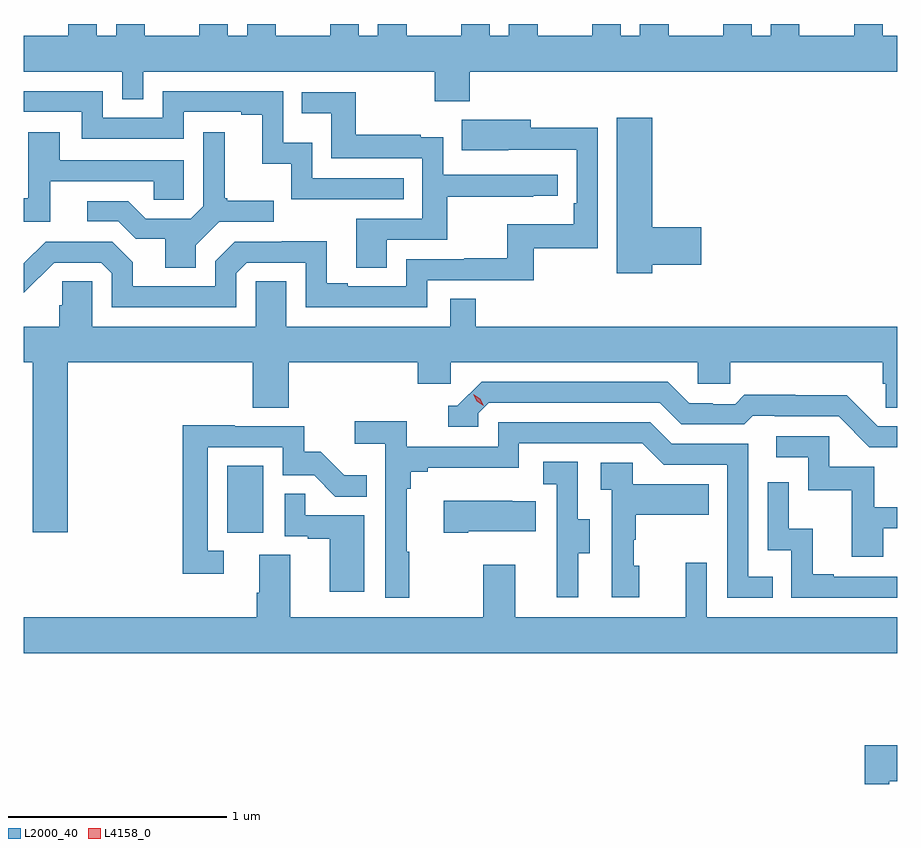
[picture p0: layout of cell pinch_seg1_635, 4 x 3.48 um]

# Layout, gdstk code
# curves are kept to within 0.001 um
import gdstk
lib = gdstk.Library(unit=1e-6, precision=1e-09)
def R(c, l, rs):  # rectangles x0, y0, x1, y1
    for r in rs: c.add(gdstk.rectangle(r[:2], r[2:], *l))
def P(c, l, *ps):  # polygons
    for p in ps: c.add(gdstk.Polygon(p, *l))
L2000_40 = (2000, 40)
L4158_0 = (4158, 0)

pinch_seg1_635 = lib.new_cell('pinch_seg1_635')
R(pinch_seg1_635, L2000_40, [(1090.394,518.982,1090.558,519.289)])
P(pinch_seg1_635, L2000_40, [(1091.465,521.26),(1091.215,521.26),(1091.215,521.314),(1091.084,521.314),(1091.084,521.26),(1090.996,521.26),(1090.996,521.314),(1090.865,521.314),(1090.865,521.26),(1090.615,521.26),(1090.615,521.314),(1090.484,521.314),(1090.484,521.26),(1090.396,521.26),(1090.396,521.314),(1090.265,521.314),(1090.265,521.26),(1090.015,521.26),(1090.015,521.314),(1089.884,521.314),(1089.884,521.26),(1089.796,521.26),(1089.796,521.314),(1089.665,521.314),(1089.665,521.26),(1089.462,521.26),(1089.462,521.096),(1089.912,521.096),(1089.912,520.969),(1090.008,520.969),(1090.008,521.096),(1091.344,521.096),(1091.344,520.961),(1091.504,520.961),(1091.504,521.096),(1093.462,521.096),(1093.462,521.26),(1093.396,521.26),(1093.396,521.314),(1093.265,521.314),(1093.265,521.26),(1093.015,521.26),(1093.015,521.314),(1092.884,521.314),(1092.884,521.26),(1092.796,521.26),(1092.796,521.314),(1092.665,521.314),(1092.665,521.26),(1092.415,521.26),(1092.415,521.314),(1092.284,521.314),(1092.284,521.26),(1092.196,521.26),(1092.196,521.314),(1092.065,521.314),(1092.065,521.26),(1091.815,521.26),(1091.815,521.314),(1091.684,521.314),(1091.684,521.26),(1091.596,521.26),(1091.596,521.314),(1091.465,521.314)],
  [(1091.201,520.608),(1090.782,520.608),(1090.782,520.771),(1090.65,520.771),(1090.65,521.007),(1090.098,521.007),(1090.098,520.884),(1089.822,520.884),(1089.822,521.007),(1089.462,521.007),(1089.462,520.911),(1089.726,520.911),(1089.726,520.788),(1090.194,520.788),(1090.194,520.911),(1090.457,520.911),(1090.457,520.899),(1090.553,520.899),(1090.553,520.673),(1090.686,520.673),(1090.686,520.512),(1091.201,520.512)],
  [(1091.125,520.326),(1091.402,520.326),(1091.402,520.522),(1091.795,520.522),(1091.795,520.527),(1091.908,520.527),(1091.908,520.623),(1091.382,520.623),(1091.382,520.795),(1091.279,520.795),(1091.279,520.807),(1090.981,520.807),(1090.981,521.001),(1090.735,521.001),(1090.735,520.904),(1090.87,520.904),(1090.87,520.698),(1091.286,520.698),(1091.286,520.422),(1090.985,520.422),(1090.985,520.198),(1091.125,520.198)],
  [(1092.34,520.211),(1092.565,520.211),(1092.565,520.382),(1092.34,520.382),(1092.34,520.885),(1092.179,520.885),(1092.179,520.172),(1092.34,520.172)],
  [(1090.434,520.173),(1090.482,520.221),(1090.752,520.221),(1090.752,520.017),(1091.31,520.017),(1091.31,520.14),(1091.797,520.14),(1091.797,520.287),(1092.09,520.287),(1092.09,520.838),(1091.785,520.838),(1091.785,520.876),(1091.467,520.876),(1091.467,520.736),(1091.994,520.737),(1091.994,520.492),(1091.981,520.492),(1091.981,520.396),(1091.676,520.396),(1091.676,520.241),(1091.479,520.241),(1091.479,520.236),(1091.214,520.236),(1091.214,520.113),(1090.945,520.113),(1090.945,520.126),(1090.849,520.126),(1090.849,520.319),(1090.644,520.319),(1090.644,520.317),(1090.428,520.317),(1090.338,520.227),(1090.338,520.113),(1089.961,520.113),(1089.961,520.223),(1089.867,520.317),(1089.561,520.317),(1089.462,520.218),(1089.462,520.083),(1089.6,520.221),(1089.816,520.221),(1089.864,520.173),(1089.864,520.017),(1090.434,520.017)],
  [(1089.583,520.593),(1090.057,520.593),(1090.057,520.509),(1090.194,520.509),(1090.194,520.689),(1089.625,520.689),(1089.625,520.819),(1089.481,520.819),(1089.481,520.516),(1089.462,520.516),(1089.462,520.407),(1089.583,520.407)],
  [(1090.249,520.3),(1090.356,520.407),(1090.606,520.407),(1090.606,520.504),(1090.393,520.504),(1090.393,520.516),(1090.381,520.516),(1090.381,520.819),(1090.284,520.819),(1090.284,520.479),(1090.227,520.422),(1090.021,520.422),(1089.94,520.503),(1089.753,520.503),(1089.753,520.41),(1089.894,520.41),(1089.974,520.33),(1090.109,520.33),(1090.109,520.198),(1090.249,520.198)],
  [(1089.662,519.764),(1090.511,519.764),(1090.511,519.556),(1090.676,519.556),(1090.676,519.764),(1091.267,519.764),(1091.267,519.666),(1091.418,519.666),(1091.418,519.764),(1092.549,519.764),(1092.549,519.666),(1092.699,519.666),(1092.699,519.764),(1093.397,519.764),(1093.397,519.666),(1093.411,519.666),(1093.411,519.556),(1093.462,519.556),(1093.462,519.928),(1091.531,519.928),(1091.531,520.055),(1091.415,520.055),(1091.415,519.928),(1090.663,519.928),(1090.663,520.136),(1090.524,520.136),(1090.524,519.928),(1089.774,519.928),(1089.774,520.136),(1089.637,520.136),(1089.637,520.026),(1089.623,520.026),(1089.623,519.928),(1089.462,519.928),(1089.462,519.764),(1089.502,519.764),(1089.502,518.985),(1089.662,518.985)],
  [(1093.462,519.471),(1093.374,519.471),(1093.232,519.613),(1092.996,519.613),(1092.996,519.616),(1092.763,519.616),(1092.721,519.573),(1092.618,519.573),(1092.618,519.576),(1092.511,519.576),(1092.412,519.675),(1091.559,519.675),(1091.448,519.564),(1091.405,519.564),(1091.405,519.468),(1091.544,519.468),(1091.544,519.531),(1091.592,519.579),(1092.375,519.579),(1092.474,519.48),(1092.763,519.48),(1092.802,519.519),(1092.901,519.519),(1092.901,519.516),(1093.194,519.516),(1093.335,519.375),(1093.462,519.375)],
  [(1091.227,518.897),(1091.215,518.897),(1091.215,519.185),(1091.234,519.185),(1091.234,519.262),(1091.311,519.262),(1091.311,519.281),(1091.73,519.281),(1091.73,519.393),(1092.294,519.393),(1092.393,519.294),(1092.684,519.294),(1092.684,518.685),(1092.893,518.685),(1092.893,518.781),(1092.78,518.781),(1092.78,519.39),(1092.43,519.39),(1092.331,519.489),(1091.634,519.489),(1091.634,519.378),(1091.216,519.378),(1091.216,519.494),(1090.977,519.494),(1090.977,519.392),(1091.118,519.392),(1091.118,518.685),(1091.227,518.685)],
  [(1090.378,518.901),(1090.305,518.901),(1090.305,519.375),(1090.647,519.375),(1090.647,519.246),(1090.791,519.246),(1090.889,519.148),(1091.033,519.148),(1091.033,519.247),(1090.929,519.247),(1090.822,519.354),(1090.746,519.354),(1090.746,519.471),(1090.427,519.471),(1090.427,519.476),(1090.189,519.476),(1090.189,518.796),(1090.378,518.796)],
  [(1093.399,519.003),(1093.462,519.003),(1093.462,519.099),(1093.357,519.099),(1093.357,519.285),(1093.152,519.285),(1093.152,519.426),(1092.909,519.426),(1092.909,519.33),(1093.056,519.33),(1093.056,519.177),(1093.255,519.177),(1093.255,518.874),(1093.399,518.874)],
  [(1092.001,518.89),(1092.055,518.89),(1092.055,519.045),(1092,519.045),(1092,519.308),(1091.841,519.308),(1091.841,519.205),(1091.904,519.205),(1091.904,518.901),(1091.903,518.901),(1091.903,518.688),(1092.001,518.688)],
  [(1092.28,518.832),(1092.255,518.832),(1092.255,518.951),(1092.265,518.951),(1092.265,519.065),(1092.599,519.065),(1092.599,519.205),(1092.252,519.205),(1092.252,519.303),(1092.105,519.303),(1092.105,519.179),(1092.156,519.179),(1092.156,518.688),(1092.28,518.688)],
  [(1093.462,518.781),(1093.171,518.781),(1093.171,518.794),(1093.076,518.794),(1093.076,519.002),(1092.966,519.002),(1092.966,519.214),(1092.87,519.214),(1092.87,518.904),(1092.978,518.904),(1092.978,518.685),(1093.462,518.685)],
  [(1091.02,519.063),(1090.751,519.063),(1090.751,519.161),(1090.656,519.161),(1090.656,518.967),(1090.763,518.967),(1090.763,518.955),(1090.862,518.955),(1090.862,518.712),(1091.02,518.712)],
  [(1091.497,518.99),(1091.807,518.99),(1091.807,519.127),(1091.699,519.127),(1091.699,519.13),(1091.385,519.13),(1091.385,518.983),(1091.497,518.983)],
  [(1093.462,518.596),(1092.591,518.596),(1092.591,518.845),(1092.494,518.845),(1092.494,518.596),(1091.713,518.596),(1091.713,518.836),(1091.566,518.836),(1091.566,518.596),(1090.681,518.596),(1090.681,518.882),(1090.541,518.882),(1090.541,518.708),(1090.529,518.708),(1090.529,518.596),(1089.462,518.596),(1089.462,518.432),(1093.462,518.432)],
  [(1093.426,517.844),(1093.462,517.844),(1093.462,518.01),(1093.314,518.01),(1093.314,517.832),(1093.426,517.832)])
P(pinch_seg1_635, L4158_0, [(1091.568,519.565),(1091.537,519.585),(1091.521,519.617),(1091.521,519.618),(1091.521,519.618),(1091.552,519.598),(1091.568,519.566),(1091.568,519.565)])

lib.write_gds('pinch_seg1_635.gds')
